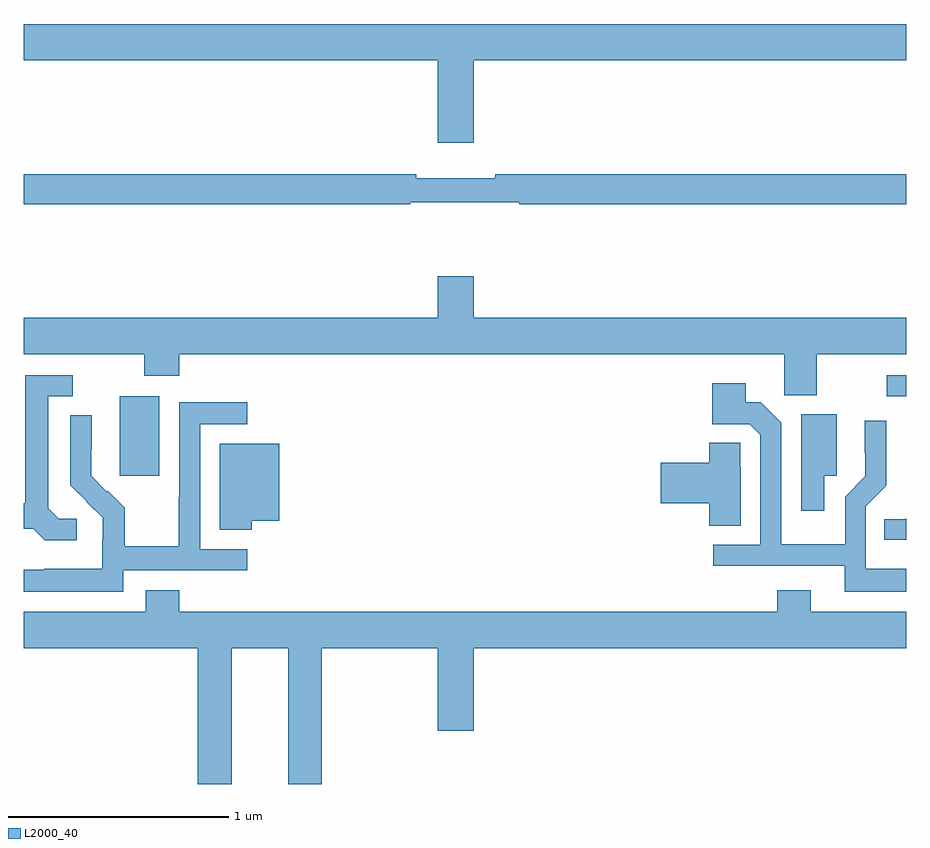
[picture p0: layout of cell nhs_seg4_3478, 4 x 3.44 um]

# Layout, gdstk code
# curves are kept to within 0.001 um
import gdstk
lib = gdstk.Library(unit=1e-6, precision=1e-09)
def R(c, l, rs):  # rectangles x0, y0, x1, y1
    for r in rs: c.add(gdstk.rectangle(r[:2], r[2:], *l))
def P(c, l, *ps):  # polygons
    for p in ps: c.add(gdstk.Polygon(p, *l))
L2000_40 = (2000, 40)

nhs_seg4_3478 = lib.new_cell('nhs_seg4_3478')
R(nhs_seg4_3478, L2000_40, [(295.436,768.297,295.615,768.658), (298.911,768.657,299,768.753)])
P(nhs_seg4_3478, L2000_40, [(297.04,770.18),(299,770.18),(299,770.344),(295,770.344),(295,770.18),(296.876,770.18),(296.876,769.806),(297.04,769.806)],
  [(296.751,769.536),(297.245,769.536),(297.245,769.528),(299,769.528),(299,769.664),(297.136,769.664),(297.136,769.645),(296.78,769.645),(296.78,769.664),(295,769.664),(295,769.528),(296.751,769.528)],
  [(298.593,768.848),(299,768.848),(299,769.012),(297.04,769.012),(297.04,769.201),(296.876,769.201),(296.876,769.012),(295,769.012),(295,768.848),(295.546,768.848),(295.546,768.749),(295.706,768.749),(295.706,768.848),(298.446,768.848),(298.446,768.661),(298.593,768.661)],
  [(295.24,768.102),(295.158,768.102),(295.111,768.149),(295.111,768.657),(295.222,768.657),(295.222,768.753),(295.007,768.753),(295.007,768.173),(295,768.173),(295,768.057),(295.044,768.057),(295.096,768.005),(295.24,768.005)],
  [(299,767.875),(298.815,767.875),(298.815,768.159),(298.908,768.252),(298.908,768.547),(298.812,768.547),(298.812,768.4),(298.814,768.4),(298.814,768.294),(298.722,768.202),(298.722,767.986),(298.434,767.986),(298.434,768.537),(298.341,768.63),(298.273,768.63),(298.273,768.715),(298.121,768.715),(298.121,768.531),(298.29,768.531),(298.338,768.483),(298.338,767.985),(298.125,767.985),(298.125,767.889),(298.721,767.889),(298.721,767.771),(299,767.771)],
  [(295.452,767.868),(296.014,767.868),(296.014,767.964),(295.8,767.964),(295.8,768.531),(296.014,768.531),(296.014,768.63),(295.704,768.63),(295.704,768.2),(295.702,768.2),(295.702,767.977),(295.457,767.977),(295.457,768.151),(295.38,768.228),(295.377,768.225),(295.307,768.296),(295.308,768.572),(295.212,768.572),(295.212,768.254),(295.358,768.106),(295.358,768.009),(295.356,768.009),(295.356,767.875),(295.093,767.875),(295.093,767.871),(295,767.871),(295,767.771),(295.452,767.771)],
  [(298.627,768.297),(298.684,768.297),(298.684,768.576),(298.523,768.576),(298.523,768.138),(298.627,768.138)],
  [(298.249,768.338),(298.248,768.338),(298.248,768.446),(298.106,768.446),(298.106,768.356),(297.888,768.356),(297.888,768.173),(298.106,768.173),(298.106,768.07),(298.249,768.07)],
  [(296.033,768.092),(296.158,768.092),(296.158,768.442),(295.889,768.442),(295.889,768.053),(296.033,768.053)],
  [(299,768.104),(298.995,768.099),(298.9,768.099),(298.9,768.007),(299,768.007)],
  [(295.942,767.516),(296.198,767.516),(296.198,766.9),(296.351,766.9),(296.351,767.516),(296.876,767.516),(296.876,767.142),(297.04,767.142),(297.04,767.516),(299,767.516),(299,767.68),(298.567,767.68),(298.567,767.779),(298.415,767.779),(298.415,767.68),(295.706,767.68),(295.706,767.779),(295.553,767.779),(295.553,767.68),(295,767.68),(295,767.516),(295.79,767.516),(295.79,766.9),(295.942,766.9)])

lib.write_gds('nhs_seg4_3478.gds')
